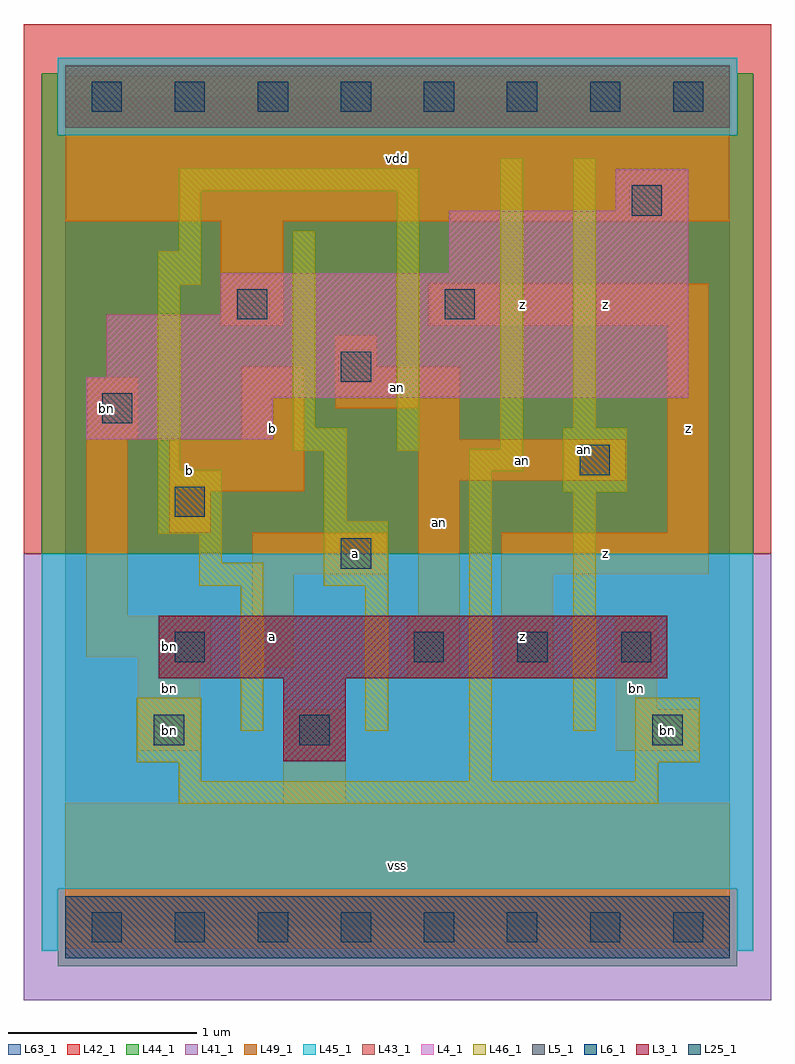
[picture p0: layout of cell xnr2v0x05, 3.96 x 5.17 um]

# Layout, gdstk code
import gdstk
lib = gdstk.Library(unit=1e-6, precision=1e-09)
def R(c, l, rs):  # rectangles x0, y0, x1, y1
    for r in rs: c.add(gdstk.rectangle(r[:2], r[2:], *l))
def A(c, l, x, y, w, h, nx, ny, dx, dy):  # array of equal rectangles
    R(c, l, [(x+i*dx, y+j*dy, x+i*dx+w, y+j*dy+h) for i in range(nx) for j in range(ny)])
L3_1 = (3, 1)
L4_1 = (4, 1)
L5_1 = (5, 1)
L6_1 = (6, 1)
L25_1 = (25, 1)
L41_1 = (41, 1)
L42_1 = (42, 1)
L43_1 = (43, 1)
L44_1 = (44, 1)
L45_1 = (45, 1)
L46_1 = (46, 1)
L49_1 = (49, 1)
L63_1 = (63, 1)

xnr2v0x05 = lib.new_cell('xnr2v0x05')
R(xnr2v0x05, L3_1, [(1.155,0.88,1.485,1.32), (0.495,1.32,3.19,1.65)])
R(xnr2v0x05, L4_1, [(0.11,2.585,1.1,2.805), (0.11,2.805,3.3,2.915), (0.22,2.915,3.3,3.245), (0.825,3.245,3.3,3.465), (2.035,3.465,3.3,3.795), (2.915,3.795,3.3,4.015)])
R(xnr2v0x05, L5_1, [(0,4.235,3.52,4.565)])
R(xnr2v0x05, L6_1, [(0,-0.165,3.52,0.165)])
A(xnr2v0x05, L25_1, 0.14, -0.08, 0.16, 0.16, 8, 2, 0.44, 4.4)
A(xnr2v0x05, L25_1, 1.845, 1.405, 0.16, 0.16, 3, 1, 0.55, 0)
R(xnr2v0x05, L25_1, [(0.47,0.965,0.63,1.125), (1.24,0.965,1.4,1.125), (3.11,0.965,3.27,1.125), (0.58,1.405,0.74,1.565), (1.46,1.9,1.62,2.06), (0.58,2.175,0.74,2.335), (2.725,2.395,2.885,2.555), (0.195,2.67,0.355,2.83), (1.46,2.89,1.62,3.05), (0.91,3.22,1.07,3.38), (2.01,3.22,2.17,3.38), (3,3.77,3.16,3.93)])
R(xnr2v0x05, L41_1, [(-0.22,-0.385,3.74,1.98)])
R(xnr2v0x05, L42_1, [(-0.22,1.98,3.74,4.785)])
R(xnr2v0x05, L43_1, [(0,-0.165,3.52,0.165), (1.155,0.88,1.485,1.32), (0.495,1.32,3.19,1.65), (0.11,2.585,1.1,2.805), (0.11,2.805,3.3,2.915), (0.22,2.915,3.3,3.245), (0.825,3.245,3.3,3.465), (2.035,3.465,3.3,3.795), (2.915,3.795,3.3,4.015), (0,4.235,3.52,4.565)])
R(xnr2v0x05, L44_1, [(-0.04,-0.205,3.56,0.205), (-0.125,1.98,3.645,4.195), (-0.125,4.195,-0.04,4.525), (3.56,4.195,3.645,4.525)])
R(xnr2v0x05, L45_1, [(-0.125,-0.125,-0.04,0.205), (3.56,-0.125,3.645,0.205), (-0.125,0.205,3.645,1.98), (-0.04,4.195,3.56,4.605)])
R(xnr2v0x05, L46_1, [(0.6,0.655,3.14,0.775), (0.6,0.775,0.72,0.875), (2.14,0.775,2.26,2.415), (3.02,0.775,3.14,0.875), (0.38,0.875,0.72,1.215), (3.02,0.875,3.36,1.215), (0.93,1.04,1.05,1.81), (1.59,1.04,1.71,1.81), (2.69,1.04,2.81,2.305), (0.71,1.81,1.05,1.93), (1.37,1.81,1.71,2.15), (0.71,1.93,0.83,2.085), (0.49,2.085,0.83,2.425), (1.37,2.15,1.49,2.525), (2.635,2.305,2.975,2.645), (2.14,2.415,2.425,2.535), (0.49,2.425,0.61,3.405), (1.205,2.525,1.49,2.645), (1.755,2.525,1.875,3.9), (2.305,2.535,2.425,4.075), (1.205,2.645,1.325,3.69), (2.69,2.645,2.81,4.075), (0.49,3.405,0.72,3.58), (0.6,3.58,0.72,3.9), (0.6,3.9,1.875,4.02)])
R(xnr2v0x05, L49_1, [(0,-0.11,3.52,0.66), (1.155,0.66,1.485,1.155), (0.385,0.935,0.715,1.32), (2.915,0.935,3.355,1.155), (2.915,1.155,3.135,1.65), (0.385,1.32,0.77,1.43), (1.815,1.32,2.09,1.65), (2.31,1.32,2.585,1.87), (0.99,1.375,1.21,1.87), (0.11,1.43,0.77,1.65), (0.11,1.65,0.33,2.585), (1.87,1.65,2.09,2.365), (0.99,1.87,1.705,2.09), (2.31,1.87,3.41,2.09), (0.55,2.09,0.77,2.31), (3.19,2.09,3.41,3.19), (0.55,2.31,1.265,2.585), (1.87,2.365,2.97,2.585), (0.11,2.585,0.385,2.915), (0.935,2.585,1.265,2.97), (1.87,2.585,2.09,2.75), (1.43,2.75,2.09,2.97), (1.43,2.97,1.65,3.135), (0.825,3.19,1.155,3.74), (1.925,3.19,3.41,3.41), (0,3.74,3.52,4.51)])
R(xnr2v0x05, L63_1, [(0,0,3.52,4.4)])
xnr2v0x05.add(gdstk.Label('bn', (0.55,1.045), layer=49, texttype=1))
xnr2v0x05.add(gdstk.Label('bn', (3.19,1.045), layer=49, texttype=1))
xnr2v0x05.add(gdstk.Label('an', (2.75,2.53), layer=49, texttype=1))
xnr2v0x05.add(gdstk.Label('bn', (0.22,2.75), layer=49, texttype=1))
xnr2v0x05.add(gdstk.Label('bn', (0.55,1.485), layer=49, texttype=1))
xnr2v0x05.add(gdstk.Label('bn', (0.55,1.265), layer=49, texttype=1))
xnr2v0x05.add(gdstk.Label('a', (1.1,1.54), layer=49, texttype=1))
xnr2v0x05.add(gdstk.Label('b', (0.66,2.42), layer=49, texttype=1))
xnr2v0x05.add(gdstk.Label('b', (1.1,2.64), layer=49, texttype=1))
xnr2v0x05.add(gdstk.Label('vss', (1.76,0.33), layer=49, texttype=1))
xnr2v0x05.add(gdstk.Label('a', (1.54,1.98), layer=49, texttype=1))
xnr2v0x05.add(gdstk.Label('an', (1.76,2.86), layer=49, texttype=1))
xnr2v0x05.add(gdstk.Label('an', (1.98,2.145), layer=49, texttype=1))
xnr2v0x05.add(gdstk.Label('vdd', (1.76,4.07), layer=49, texttype=1))
xnr2v0x05.add(gdstk.Label('z', (2.42,1.54), layer=49, texttype=1))
xnr2v0x05.add(gdstk.Label('z', (2.42,3.3), layer=49, texttype=1))
xnr2v0x05.add(gdstk.Label('bn', (3.135,1.045), layer=49, texttype=1))
xnr2v0x05.add(gdstk.Label('bn', (3.025,1.265), layer=49, texttype=1))
xnr2v0x05.add(gdstk.Label('z', (2.86,1.98), layer=49, texttype=1))
xnr2v0x05.add(gdstk.Label('an', (2.42,2.475), layer=49, texttype=1))
xnr2v0x05.add(gdstk.Label('z', (3.3,2.64), layer=49, texttype=1))
xnr2v0x05.add(gdstk.Label('z', (2.86,3.3), layer=49, texttype=1))

lib.write_gds('xnr2v0x05.gds')
